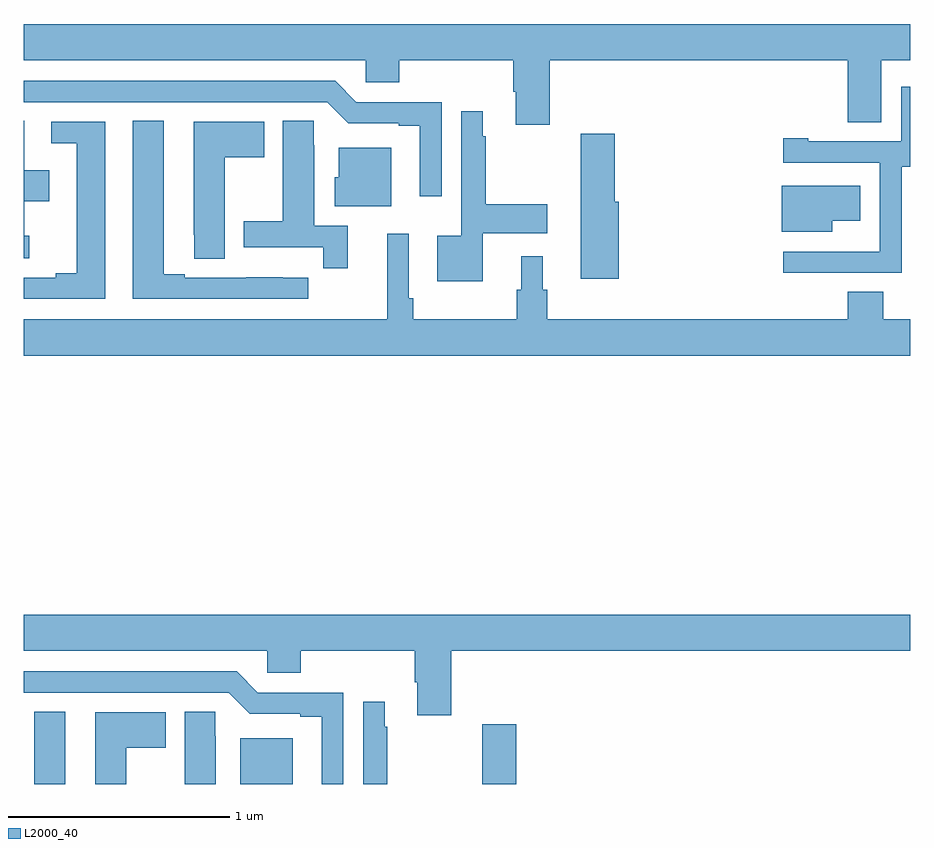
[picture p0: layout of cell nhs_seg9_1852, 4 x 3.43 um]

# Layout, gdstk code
import gdstk
lib = gdstk.Library(unit=1e-6, precision=1e-09)
def R(c, l, rs):  # rectangles x0, y0, x1, y1
    for r in rs: c.add(gdstk.rectangle(r[:2], r[2:], *l))
def P(c, l, *ps):  # polygons
    for p in ps: c.add(gdstk.Polygon(p, *l))
L2000_40 = (2000, 40)

nhs_seg9_1852 = lib.new_cell('nhs_seg9_1852')
R(nhs_seg9_1852, L2000_40, [(215.048,1182.5,215.188,1182.827), (215.978,1182.5,216.214,1182.706), (217.069,1182.5,217.223,1182.769)])
P(nhs_seg9_1852, L2000_40, [(217.373,1185.764),(218.717,1185.764),(218.717,1185.484),(218.869,1185.484),(218.869,1185.764),(219,1185.764),(219,1185.928),(215,1185.928),(215,1185.764),(216.543,1185.764),(216.543,1185.666),(216.695,1185.666),(216.695,1185.764),(217.208,1185.764),(217.208,1185.622),(217.22,1185.622),(217.22,1185.474),(217.373,1185.474)],
  [(216.885,1185.576),(216.501,1185.576),(216.405,1185.672),(215,1185.672),(215,1185.576),(216.369,1185.576),(216.465,1185.48),(216.692,1185.48),(216.692,1185.468),(216.788,1185.468),(216.788,1185.15),(216.885,1185.15)],
  [(218.961,1185.283),(219,1185.283),(219,1185.645),(218.958,1185.645),(218.958,1185.399),(218.539,1185.399),(218.539,1185.412),(218.427,1185.412),(218.427,1185.303),(218.862,1185.303),(218.862,1184.902),(218.861,1184.902),(218.861,1184.901),(218.427,1184.901),(218.427,1184.805),(218.961,1184.805)],
  [(217.072,1184.984),(217.363,1184.984),(217.363,1185.114),(217.084,1185.114),(217.084,1185.422),(217.072,1185.422),(217.072,1185.535),(216.975,1185.535),(216.975,1184.974),(216.866,1184.974),(216.866,1184.768),(217.072,1184.768)],
  [(215.026,1184.973),(215.002,1184.973),(215.002,1185.128),(215.116,1185.128),(215.116,1185.268),(215.002,1185.268),(215.002,1185.491),(215,1185.491),(215,1184.871),(215.026,1184.871)],
  [(216.283,1184.784),(216.17,1184.784),(216.17,1184.785),(216.004,1184.785),(216.004,1184.784),(215.728,1184.784),(215.728,1184.799),(215.632,1184.799),(215.632,1185.491),(215.492,1185.491),(215.492,1184.688),(216.283,1184.688)],
  [(216.461,1185.018),(216.31,1185.018),(216.31,1185.38),(216.309,1185.38),(216.309,1185.491),(216.17,1185.491),(216.17,1185.039),(215.993,1185.039),(215.993,1184.922),(216.352,1184.922),(216.352,1184.826),(216.461,1184.826)],
  [(215.908,1185.328),(216.085,1185.328),(216.085,1185.487),(215.768,1185.487),(215.768,1184.977),(215.769,1184.977),(215.769,1184.869),(215.908,1184.869)],
  [(215.368,1185.486),(215.124,1185.486),(215.124,1185.39),(215.24,1185.39),(215.24,1184.804),(215.144,1184.804),(215.144,1184.784),(215,1184.784),(215,1184.688),(215.368,1184.688)],
  [(217.685,1185.126),(217.667,1185.126),(217.667,1185.433),(217.513,1185.433),(217.513,1185.126),(217.514,1185.126),(217.514,1184.778),(217.685,1184.778)],
  [(216.658,1185.37),(216.422,1185.37),(216.422,1185.237),(216.404,1185.237),(216.404,1185.107),(216.658,1185.107)],
  [(218.647,1185.041),(218.773,1185.041),(218.773,1185.199),(218.42,1185.199),(218.42,1184.99),(218.647,1184.99)],
  [(219,1184.596),(218.877,1184.596),(218.877,1184.72),(218.717,1184.72),(218.717,1184.596),(217.361,1184.596),(217.361,1184.73),(217.342,1184.73),(217.342,1184.881),(217.244,1184.881),(217.244,1184.73),(217.225,1184.73),(217.225,1184.596),(216.758,1184.596),(216.758,1184.692),(216.738,1184.692),(216.738,1184.983),(216.641,1184.983),(216.641,1184.596),(215,1184.596),(215,1184.432),(219,1184.432)],
  [(216.929,1183.1),(219,1183.1),(219,1183.264),(215,1183.264),(215,1183.1),(216.099,1183.1),(216.099,1183.002),(216.251,1183.002),(216.251,1183.1),(216.764,1183.1),(216.764,1182.958),(216.776,1182.958),(216.776,1182.81),(216.929,1182.81)],
  [(216.441,1182.912),(216.057,1182.912),(215.961,1183.008),(215,1183.008),(215,1182.912),(215.925,1182.912),(216.021,1182.816),(216.248,1182.816),(216.248,1182.804),(216.344,1182.804),(216.344,1182.5),(216.441,1182.5)],
  [(216.64,1182.758),(216.628,1182.758),(216.628,1182.871),(216.531,1182.871),(216.531,1182.5),(216.64,1182.5)],
  [(215.866,1182.716),(215.865,1182.716),(215.865,1182.827),(215.726,1182.827),(215.726,1182.5),(215.866,1182.5)],
  [(215.464,1182.664),(215.641,1182.664),(215.641,1182.823),(215.324,1182.823),(215.324,1182.5),(215.464,1182.5)])

lib.write_gds('nhs_seg9_1852.gds')
